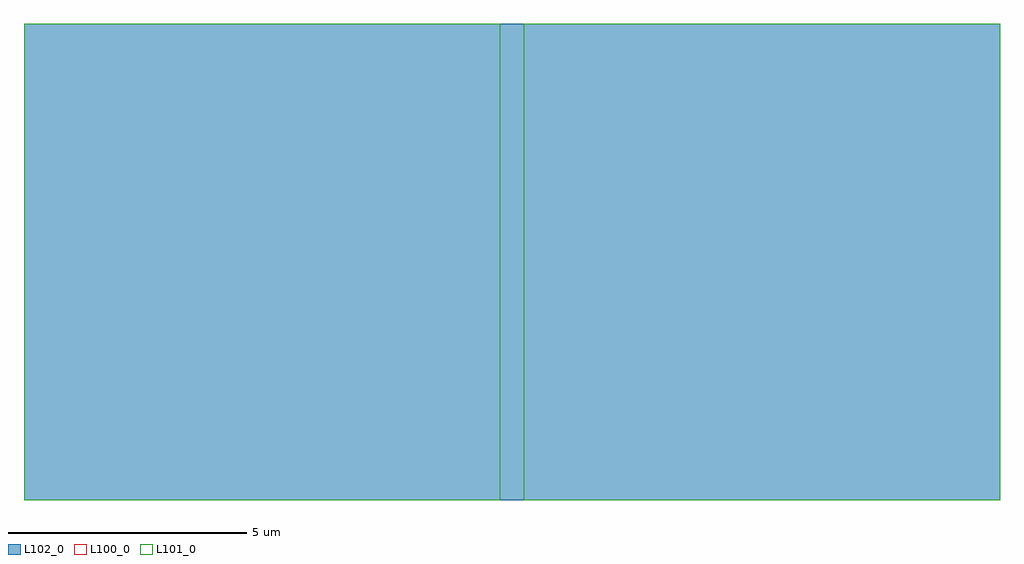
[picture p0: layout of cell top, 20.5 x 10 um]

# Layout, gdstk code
import gdstk
lib = gdstk.Library(unit=1e-6, precision=1e-09)
def R(c, l, rs):  # rectangles x0, y0, x1, y1
    for r in rs: c.add(gdstk.rectangle(r[:2], r[2:], *l))
L100_0 = (100, 0)
L101_0 = (101, 0)
L102_0 = (102, 0)

child = lib.new_cell('child')
R(child, L100_0, [(0,0,10,10)])
R(child, L101_0, [(0,0,10,10)])
R(child, L102_0, [(0,0,10,10)])

top = lib.new_cell('top')
R(top, L102_0, [(0,0,20.5,10)])
top.add(gdstk.Reference(child, (10.5,0)))
top.add(gdstk.Reference(child, (0,0)))

lib.write_gds('top.gds')
